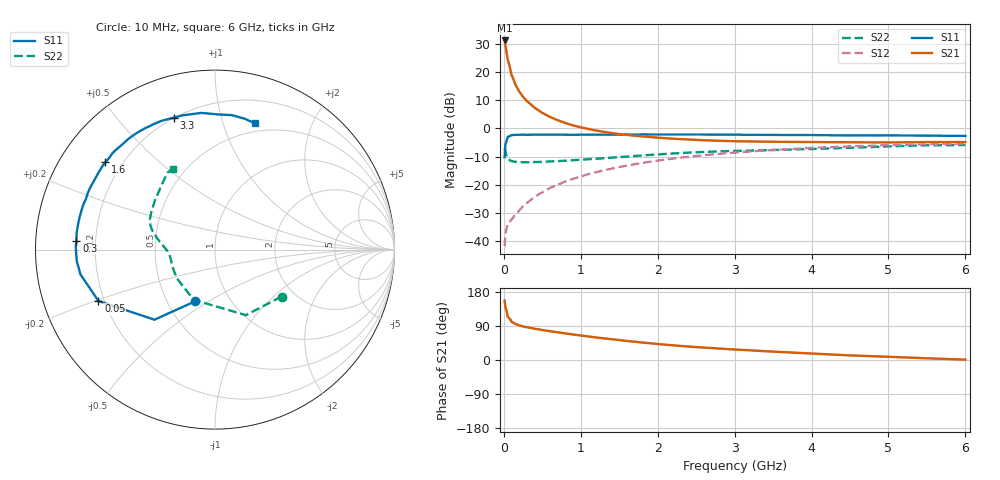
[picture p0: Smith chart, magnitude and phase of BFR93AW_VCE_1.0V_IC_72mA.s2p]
! Infineon Technologies  Discrete & RF Semiconductors
! BFR93AW
! VCE =  1.0 V,  IC =  72 mA
! Common Emitter S-Parameters:  Jan 2017
# GHz  S  MA  R  50
!  f  S11  S21  S12  S22
! GHz  MAG  ANG  MAG  ANG  MAG  ANG  MAG  ANG
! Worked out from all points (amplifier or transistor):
!   77 points, 10 MHz to 6 GHz, reference 50 ohm
!   highest |S21| = 31.2 dB at 10 MHz (marker M1)
!   |S21| within 3 dB of that: start of sweep to 28.74 MHz
!   unconditionally stable (mu >= 1): start of sweep to 14.16 MHz; 93.2 MHz to end of sweep
!   at 130 MHz: K = 1.15, MAG = 21.8 dB, |S12| = -31.2 dB
!   at 2.2 GHz: K = 1.23, MAG = 0.6 dB, |S12| = -10.7 dB
!   at 6 GHz: K = 1.07, MAG = -1.4 dB, |S12| = -5.3 dB
!   S11 on the Smith chart (normalised r, x): 10 MHz: 0.68, -0.44; 50 MHz: 0.18, -0.20; 300 MHz: 0.13, +0.03; 1.6 GHz: 0.14, +0.34; 3.3 GHz: 0.20, +0.72; 6 GHz: 0.41, +1.28
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0.01  0.3098 -111.2  36.33 156.6  0.0082 53.5  0.4538 -35.2
0.02  0.5158 -130.8  30.1 139.2  0.0134 48.5  0.4039 -64.8
0.04  0.6328 -149.5  20.52 125.9  0.0177 42.3  0.309 -94.0
0.05  0.7098 -156.2  16.49 113.8  0.0199 40.2  0.3037 -113.0
0.1  0.7624 -169.6  8.862 100.6  0.0243 46.6  0.2659 -142.9
0.15  0.7726 -175.2  5.995 95.1  0.0297 52.2  0.2568 -154.7
0.2  0.7739 -178.6  4.524 91.4  0.0352 57.1  0.2534 -161.0
0.25  0.7759 178.6  3.641 88.5  0.0419 60.5  0.2524 -165.2
0.3  0.7737 176.5  3.049 86.4  0.0476 62.7  0.252 -168.1
0.4  0.7767 172.8  2.325 82.5  0.0607 66.3  0.2539 -171.7
0.5  0.7756 169.5  1.888 79.1  0.0743 67.7  0.256 -174.3
0.6  0.7758 166.5  1.602 75.9  0.0879 68.1  0.2608 -176.2
0.8  0.7751 161.1  1.25 70.1  0.1148 68.3  0.2686 -179.2
0.9  0.7726 158.4  1.133 67.3  0.1278 67.5  0.2736 179.4
1.1  0.7762 153.3  0.979 62.1  0.155 66.1  0.2852 176.9
1.6  0.7811 141.5  0.769 50.2  0.22 60.3  0.3171 170.7
2.1  0.7815 130.2  0.673 40.5  0.2807 53.7  0.3534 164.9
3.1  0.7741 110.9  0.592 26.6  0.3823 40.1  0.4027 153.5
3.3  0.7703 107.3  0.586 24.4  0.3992 37.5  0.4085 150.8
4.1  0.762 94.2  0.574 16.1  0.459 27.4  0.4368 138.7
5.1  0.7531 81.7  0.567 7.7  0.5094 15.9  0.486 125.1
6  0.7378 72.5  0.575 0.9  0.5404 6.8  0.5088 117.6
